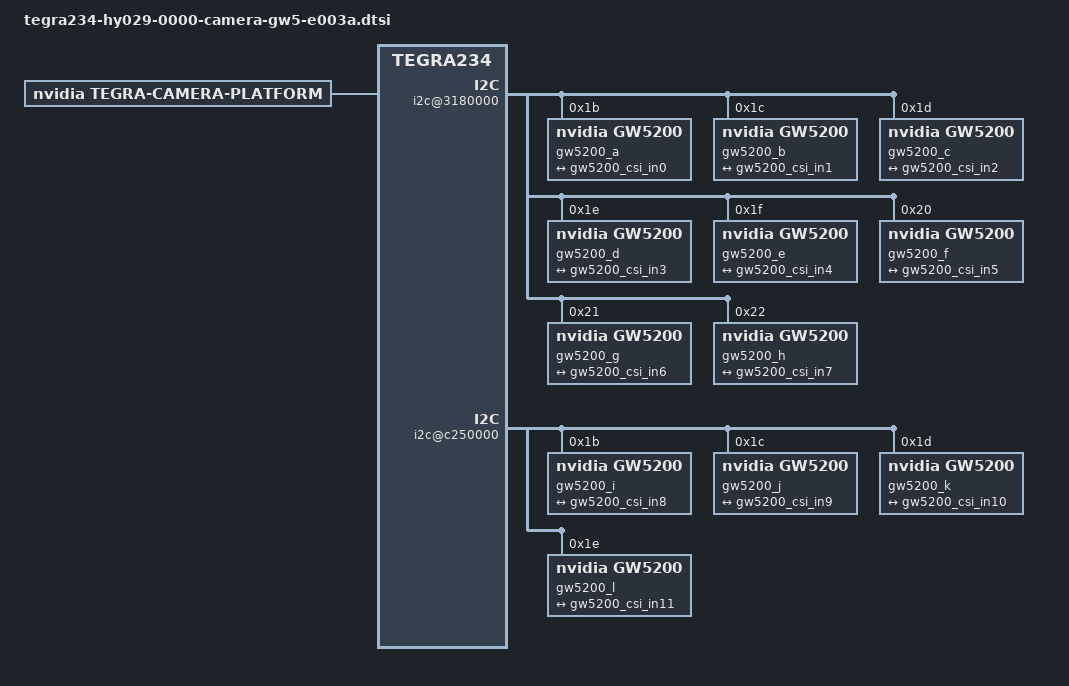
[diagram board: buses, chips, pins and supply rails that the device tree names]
/*
 * Copyright (c) 2018, NVIDIA CORPORATION.  All rights reserved.
 *
 * This program is free software; you can redistribute it and/or modify
 * it under the terms of the GNU General Public License as published by
 * the Free Software Foundation; either version 2 of the License, or
 * (at your option) any later version.
 *
 * This program is distributed in the hope that it will be useful, but WITHOUT
 * ANY WARRANTY; without even the implied warranty of MERCHANTABILITY or
 * FITNESS FOR A PARTICULAR PURPOSE.  See the GNU General Public License for
 * more details.
 *
 * You should have received a copy of the GNU General Public License
 * along with this program.  If not, see <http://www.gnu.org/licenses/>.
 */



/ {
		tegra-capture-vi {
			num-channels = <12>;
			/*num-channels = <8>;*/
			/*num-channels = <4>;*/
			ports {
				#address-cells = <1>;
				#size-cells = <0>;
            #if 1
				port@0 {
					reg = <0>;
					gw5200_vi_in0: endpoint {
						devnode = "video1";
						vc-id = <0>;
						/*
						 * Port index is used to specify the connection between two different modules. 
						 * For the VI (video input) module, the port index represents the input stream. 
						 * For the CSI module, it represents the actual CSI port to which the camera is connected.
						 * see diagram for details.
						*/
						port-index = <0>;
						/* Number of CSI lanes connected to sensor; determines the bus width. */
						bus-width = <4>;
						remote-endpoint = <&gw5200_csi_out0>;
					};
				};
				port@1 {
					reg = <1>;
					gw5200_vi_in1: endpoint {
						devnode = "video0";
						vc-id = <1>;
						port-index = <0>;
						bus-width = <4>;
						remote-endpoint = <&gw5200_csi_out1>;
					};
				};
				port@2 {
					reg = <2>;
					gw5200_vi_in2: endpoint {
						devnode = "video3";
						vc-id = <2>;
						port-index = <0>;
						bus-width = <4>;
						remote-endpoint = <&gw5200_csi_out2>;
					};
				};
				port@3 {
					reg = <3>;
					gw5200_vi_in3: endpoint {
						devnode = "video2";
						vc-id = <3>;
						port-index = <0>;
						bus-width = <4>;
						remote-endpoint = <&gw5200_csi_out3>;
					};
				};
            #endif
            #if 1
				port@4 {
					reg = <4>;
					gw5200_vi_in4: endpoint {
						devnode = "video9";
						vc-id = <0>;
						port-index = <2>;
						bus-width = <4>;
						remote-endpoint = <&gw5200_csi_out4>;
					};
				};
				port@5 {
					reg = <5>;
					gw5200_vi_in5: endpoint {
						devnode = "video8";
						vc-id = <1>;
						port-index = <2>;
						bus-width = <4>;
						remote-endpoint = <&gw5200_csi_out5>;
					};
				};	
				port@6 {
					reg = <6>;
					gw5200_vi_in6: endpoint {
						devnode = "video11";
						vc-id = <2>;
						port-index = <2>;
						bus-width = <4>;
						remote-endpoint = <&gw5200_csi_out6>;
					};
				};
				port@7 {
					reg = <7>;
					gw5200_vi_in7: endpoint {
						devnode = "video10";
						vc-id = <3>;
						port-index = <2>;
						bus-width = <4>;
						remote-endpoint = <&gw5200_csi_out7>;
					};
				};
            #endif

            #if 1
				port@8 {
					reg = <8>;
					gw5200_vi_in8: endpoint {
						devnode = "video5";
						vc-id = <0>;
						port-index = <4>;
						bus-width = <4>;
						remote-endpoint = <&gw5200_csi_out8>;
					};
				};
				port@9 {
					reg = <9>;
					gw5200_vi_in9: endpoint {
						devnode = "video4";
						vc-id = <1>;
						port-index = <4>;
						bus-width = <4>;
						remote-endpoint = <&gw5200_csi_out9>;
					};
				};	
				port@a {
					reg = <0xa>;
					gw5200_vi_in10: endpoint {
						devnode = "video7";
						vc-id = <2>;
						port-index = <4>;
						bus-width = <4>;
						remote-endpoint = <&gw5200_csi_out10>;
					};
				};
				port@b {
					reg = <0xb>;
					gw5200_vi_in11: endpoint {
						devnode = "video6";
						vc-id = <3>;
						port-index = <4>;
						bus-width = <4>;
						remote-endpoint = <&gw5200_csi_out11>;
					};
				};
            #endif
			};
		};

	host1x@13e00000 {
		nvcsi@15a00000 {
			num-channels = <12>;
			/*num-channels = <8>;*/
			/*num-channels = <4>;*/
			#address-cells = <1>;
			#size-cells = <0>;
        #if 1
			channel@0 {
				reg = <0>;
				ports {
					#address-cells = <1>;
					#size-cells = <0>;
					port@0 {
						reg = <0>;
						gw5200_csi_in0: endpoint@0 {
						/*
						 * Port index is used to specify the connection between two different modules. 
						 * For the VI (video input) module, the port index represents the input stream. 
						 * For the CSI module, it represents the actual CSI port to which the camera is connected.
						 * see diagram for details.
						*/
							port-index = <0>;
							bus-width = <4>;
							remote-endpoint = <&gw5200_gw5200_out0>;
						};
					};

					port@1 {
						reg = <1>;
						gw5200_csi_out0: endpoint@1 {
							remote-endpoint = <&gw5200_vi_in0>;
						};
					};

				};
			};
			channel@1 {
				reg = <1>;
				ports {
					#address-cells = <1>;
					#size-cells = <0>;
					port@0 {
						reg = <0>;
						gw5200_csi_in1: endpoint@2 {
							port-index = <0>;
							bus-width = <4>;
							remote-endpoint = <&gw5200_gw5200_out1>;
						};
					};
					port@1 {
						reg = <1>;
						gw5200_csi_out1: endpoint@3 {
							remote-endpoint = <&gw5200_vi_in1>;
						};
					};
				};
			};
			channel@2 {
				reg = <2>;
				ports {
					#address-cells = <1>;
					#size-cells = <0>;
					port@0 {
						reg = <0>;
						gw5200_csi_in2: endpoint@4 {
							port-index = <0>;
							bus-width = <4>;
							remote-endpoint = <&gw5200_gw5200_out2>;
						};
					};
					port@1 {
						reg = <1>;
						gw5200_csi_out2: endpoint@5 {
							remote-endpoint = <&gw5200_vi_in2>;
						};
					};
				};
			};
			channel@3 {
				reg = <3>;
				ports {
					#address-cells = <1>;
					#size-cells = <0>;
					port@0 {
						reg = <0>;
						gw5200_csi_in3: endpoint@6 {
							port-index = <0>;
							bus-width = <4>;
							remote-endpoint = <&gw5200_gw5200_out3>;
						};
					};
					port@1 {
						reg = <1>;
						gw5200_csi_out3: endpoint@7 {
							remote-endpoint = <&gw5200_vi_in3>;
						};
					};
				};
			};
        #endif
        #if 1
			channel@4 {
				reg = <4>;
				ports {
					#address-cells = <1>;
					#size-cells = <0>;
					port@0 {
						reg = <0>;
						gw5200_csi_in4: endpoint@8 {
							/*port-index = <6>;*/
							port-index = <2>;
							bus-width = <4>;
							remote-endpoint = <&gw5200_gw5200_out4>;
						};
					};

					port@1 {
						reg = <1>;
						gw5200_csi_out4: endpoint@9 {
							remote-endpoint = <&gw5200_vi_in4>;
						};
					};

				};
			};
			channel@5 {
				reg = <5>;
				ports {
					#address-cells = <1>;
					#size-cells = <0>;
					port@0 {
						reg = <0>;
						gw5200_csi_in5: endpoint@10 {
							port-index = <2>;
							bus-width = <4>;
							remote-endpoint = <&gw5200_gw5200_out5>;
						};
					};
					port@1 {
						reg = <1>;
						gw5200_csi_out5: endpoint@11 {
							remote-endpoint = <&gw5200_vi_in5>;
						};
					};
				};
			};
			channel@6 {
				reg = <6>;
				ports {
					#address-cells = <1>;
					#size-cells = <0>;
					port@0 {
						reg = <0>;
						gw5200_csi_in6: endpoint@12 {
							port-index = <2>;
							bus-width = <4>;
							remote-endpoint = <&gw5200_gw5200_out6>;
						};
					};
					port@1 {
						reg = <1>;
						gw5200_csi_out6: endpoint@13 {
							remote-endpoint = <&gw5200_vi_in6>;
						};
					};
				};
			};
			channel@7 {
				reg = <7>;
				ports {
					#address-cells = <1>;
					#size-cells = <0>;
					port@0 {
						reg = <0>;
						gw5200_csi_in7: endpoint@14 {
							port-index = <2>;
							bus-width = <4>;
							remote-endpoint = <&gw5200_gw5200_out7>;
						};
					};
					port@1 {
						reg = <1>;
						gw5200_csi_out7: endpoint@15 {
							remote-endpoint = <&gw5200_vi_in7>;
						};
					};
				};
			};
        #endif
        #if 1
			channel@8 {
				reg = <8>;
				ports {
					#address-cells = <1>;
					#size-cells = <0>;
					port@0 {
						reg = <0>;
						gw5200_csi_in8: endpoint@16 {
							port-index = <4>;
							bus-width = <4>;
							remote-endpoint = <&gw5200_gw5200_out8>;
						};
					};

					port@1 {
						reg = <1>;
						gw5200_csi_out8: endpoint@17 {
							remote-endpoint = <&gw5200_vi_in8>;
						};
					};

				};
			};
			channel@9 {
				reg = <9>;
				ports {
					#address-cells = <1>;
					#size-cells = <0>;
					port@0 {
						reg = <0>;
						gw5200_csi_in9: endpoint@18 {
							port-index = <4>;
							bus-width = <4>;
							remote-endpoint = <&gw5200_gw5200_out9>;
						};
					};
					port@1 {
						reg = <1>;
						gw5200_csi_out9: endpoint@19 {
							remote-endpoint = <&gw5200_vi_in9>;
						};
					};
				};
			};
			channel@a {
				reg = <0xa>;
				ports {
					#address-cells = <1>;
					#size-cells = <0>;
					port@0 {
						reg = <0>;
						gw5200_csi_in10: endpoint@20 {
							port-index = <4>;
							bus-width = <4>;
							remote-endpoint = <&gw5200_gw5200_out10>;
						};
					};
					port@1 {
						reg = <1>;
						gw5200_csi_out10: endpoint@21 {
							remote-endpoint = <&gw5200_vi_in10>;
						};
					};
				};
			};
			channel@b {
				reg = <0xb>;
				ports {
					#address-cells = <1>;
					#size-cells = <0>;
					port@0 {
						reg = <0>;
						gw5200_csi_in11: endpoint@22 {
							port-index = <4>;
							bus-width = <4>;
							remote-endpoint = <&gw5200_gw5200_out11>;
						};
					};
					port@1 {
						reg = <1>;
						gw5200_csi_out11: endpoint@23 {
							remote-endpoint = <&gw5200_vi_in11>;
						};
					};
				};
			};
        #endif
		};

	};

	i2c@3180000 {

			gw5200_a@1b {
				compatible = "nvidia,gw5200";
				reg = <0x1b>;
				physical_w = "15.0";
				physical_h = "12.5";
				//def-mode = <0>;
				sensor_model ="e003a";
				post_crop_frame_drop = "0";
				use_decibel_gain = "true";
				delayed_gain = "true";
				//use_sensor_mode_id = "true";
				mode0 {
					mclk_khz = "24000";
					num_lanes = "4";
					/* enable dphy */
					phy_mode = "DPHY";
					tegra_sinterface = "serial_a";
					vc_id = "0";
					discontinuous_clk = "no";
					dpcm_enable = "false";
					cil_settletime = "0";
					mode_type = "yuv";
					pixel_phase = "yuyv";
					csi_pixel_bit_depth = "16";
					active_w = "1920";
					active_h = "1080";
					//pixel_t = "yuv_yuyv16";
					readout_orientation = "0";
					line_length = "4400";
					inherent_gain = "1";
					pix_clk_hz = "148500000";
					serdes_pix_clk_hz = "300000000";
					gain_factor = "10";
					min_gain_val = "0"; /* dB */
					max_gain_val = "300"; /* dB */
					step_gain_val = "3"; /* 0.3 */
					default_gain = "0";
					min_hdr_ratio = "1";
					max_hdr_ratio = "1";
					framerate_factor = "1000000";
					min_framerate = "30000000";
					max_framerate = "30000000";
					step_framerate = "1";
					default_framerate = "30000000";
					exposure_factor = "1000000";
					min_exp_time = "59"; /*us, 2 lines*/
					max_exp_time = "33333";
					step_exp_time = "1";
					default_exp_time = "33333";/* us */
					embedded_metadata_height = "0";
				};
				ports {
					#address-cells = <1>;
					#size-cells = <0>;
					port@0 {
						reg = <0>;
						gw5200_gw5200_out0: endpoint {
							vc-id = <0>;
							port-index = <0>;
							bus-width = <4>;
							remote-endpoint = <&gw5200_csi_in0>;
							};
						};
					};
				gmsl-link {
					src-csi-port = "b";
					dst-csi-port = "b";
					serdes-csi-link = "a";
					csi-mode = "1x4";
					st-vc = <0>;
					vc-id = <0>;
					num-lanes = <4>;
					streams = "yuv422-8";
					};
				};
			gw5200_b@1c {
				compatible = "nvidia,gw5200";
				reg = <0x1c>;
				physical_w = "15.0";
				physical_h = "12.5";
				//def-mode = <0>;
				sensor_model ="e003a";
				post_crop_frame_drop = "0";
				use_decibel_gain = "true";
				delayed_gain = "true";
				//use_sensor_mode_id = "true";
				mode0 {
					mclk_khz = "24000";
					num_lanes = "4";
					phy_mode = "DPHY";
					tegra_sinterface = "serial_a";
					vc_id = "1";
					discontinuous_clk = "no";
					dpcm_enable = "false";
					cil_settletime = "0";
					mode_type = "yuv";
					pixel_phase = "yuyv";
					csi_pixel_bit_depth = "16";
					active_w = "1920";
					active_h = "1080";
					//pixel_t = "yuv_yuyv16";
					readout_orientation = "0";
					line_length = "4400";
					inherent_gain = "1";
					pix_clk_hz = "148500000";
					serdes_pix_clk_hz = "300000000";
					gain_factor = "10";
					min_gain_val = "0"; /* dB */
					max_gain_val = "300"; /* dB */
					step_gain_val = "3"; /* 0.3 */
					default_gain = "0";
					min_hdr_ratio = "1";
					max_hdr_ratio = "1";
					framerate_factor = "1000000";
					min_framerate = "30000000";
					max_framerate = "30000000";
					step_framerate = "1";
					default_framerate = "30000000";
					exposure_factor = "1000000";
					min_exp_time = "59"; /*us, 2 lines*/
					max_exp_time = "33333";
					step_exp_time = "1";
					default_exp_time = "33333";/* us */
					embedded_metadata_height = "0";
				};
				ports {
					#address-cells = <1>;
					#size-cells = <0>;
					port@0 {
						reg = <0>;
						gw5200_gw5200_out1: endpoint {
							vc-id = <1>;
							port-index = <0>;
							bus-width = <4>;
							remote-endpoint = <&gw5200_csi_in1>;
							};
						};
					};
				gmsl-link {
					src-csi-port = "b";
					dst-csi-port = "b";
					serdes-csi-link = "b";
					csi-mode = "1x4";
					st-vc = <0>;
					vc-id = <1>;
					num-lanes = <4>;
					streams = "yuv422-8";
					};
				};

			gw5200_c@1d {
				compatible = "nvidia,gw5200";
				reg = <0x1d>;
				physical_w = "15.0";
				physical_h = "12.5";
				//def-mode = <0>;
				sensor_model ="e003a";
				post_crop_frame_drop = "0";
				use_decibel_gain = "true";
				delayed_gain = "true";
				//use_sensor_mode_id = "true";
				mode0 {
					mclk_khz = "24000";
					num_lanes = "4";
					phy_mode = "DPHY";
					tegra_sinterface = "serial_a";
					vc_id = "2";
					discontinuous_clk = "no";
					dpcm_enable = "false";
					cil_settletime = "0";
					mode_type = "yuv";
					pixel_phase = "yuyv";
					csi_pixel_bit_depth = "16";
					active_w = "1920";
					active_h = "1080";
					//pixel_t = "yuv_yuyv16";
					readout_orientation = "0";
					line_length = "4400";
					inherent_gain = "1";
					pix_clk_hz = "148500000";
					serdes_pix_clk_hz = "300000000";
					gain_factor = "10";
					min_gain_val = "0"; /* dB */
					max_gain_val = "300"; /* dB */
					step_gain_val = "3"; /* 0.3 */
					default_gain = "0";
					min_hdr_ratio = "1";
					max_hdr_ratio = "1";
					framerate_factor = "1000000";
					min_framerate = "30000000";
					max_framerate = "30000000";
					step_framerate = "1";
					default_framerate = "30000000";
					exposure_factor = "1000000";
					min_exp_time = "59"; /*us, 2 lines*/
					max_exp_time = "33333";
					step_exp_time = "1";
					default_exp_time = "33333";/* us */
					embedded_metadata_height = "0";
				};
				ports {
					#address-cells = <1>;
					#size-cells = <0>;
					port@0 {
						reg = <0>;
						gw5200_gw5200_out2: endpoint {
							vc-id = <2>;
							port-index = <0>;
							bus-width = <4>;
							remote-endpoint = <&gw5200_csi_in2>;
							};
						};
					};
				gmsl-link {
					src-csi-port = "b";
					dst-csi-port = "b";
					serdes-csi-link = "c";
					csi-mode = "1x4";
					st-vc = <0>;
					vc-id = <2>;
					num-lanes = <4>;
					streams = "yuv422-8";
					};
				};

			gw5200_d@1e{
				compatible = "nvidia,gw5200";
				reg = <0x1e>;
				physical_w = "15.0";
				physical_h = "12.5";
				//def-mode = <0>;
				sensor_model ="e003a";
				post_crop_frame_drop = "0";
				use_decibel_gain = "true";
				delayed_gain = "true";
				//use_sensor_mode_id = "true";
				mode0 {
					mclk_khz = "24000";
					num_lanes = "4";
					phy_mode = "DPHY";
					tegra_sinterface = "serial_a";
					vc_id = "3";
					discontinuous_clk = "no";
					dpcm_enable = "false";
					cil_settletime = "0";
					mode_type = "yuv";
					pixel_phase = "yuyv";
					csi_pixel_bit_depth = "16";
					active_w = "1920";
					active_h = "1080";
					//pixel_t = "yuv_yuyv16";
					readout_orientation = "0";
					line_length = "4400";
					inherent_gain = "1";
					pix_clk_hz = "148500000";
					serdes_pix_clk_hz = "300000000";
					gain_factor = "10";
					min_gain_val = "0"; /* dB */
					max_gain_val = "300"; /* dB */
					step_gain_val = "3"; /* 0.3 */
					default_gain = "0";
					min_hdr_ratio = "1";
					max_hdr_ratio = "1";
					framerate_factor = "1000000";
					min_framerate = "30000000";
					max_framerate = "30000000";
					step_framerate = "1";
					default_framerate = "30000000";
					exposure_factor = "1000000";
					min_exp_time = "59"; /*us, 2 lines*/
					max_exp_time = "33333";
					step_exp_time = "1";
					default_exp_time = "33333";/* us */
					embedded_metadata_height = "0";
				};
				ports {
					#address-cells = <1>;
					#size-cells = <0>;
					port@0 {
						reg = <0>;
						gw5200_gw5200_out3: endpoint {
							vc-id = <3>;
							port-index = <0>;
							bus-width = <4>;
							remote-endpoint = <&gw5200_csi_in3>;
							};
						};
					};
				gmsl-link {
					src-csi-port = "b";
					dst-csi-port = "b";
					serdes-csi-link = "d";
					csi-mode = "1x4";
					st-vc = <0>;
					vc-id = <3>;
					num-lanes = <4>;
					streams = "yuv422-8";
					};
				};
	};
    #if 1
	i2c@3180000 {
			gw5200_e@1f {
				compatible = "nvidia,gw5200";
				reg = <0x1f>;
				physical_w = "15.0";
				physical_h = "12.5";
				//def-mode = <0>;
				sensor_model ="e003a";
				post_crop_frame_drop = "0";
				use_decibel_gain = "true";
				delayed_gain = "true";
				//use_sensor_mode_id = "true";
				mode0 {
					mclk_khz = "24000";
					num_lanes = "4";
					phy_mode = "DPHY";
					/*tegra_sinterface = "serial_g";*/
					tegra_sinterface = "serial_c";
					vc_id = "0";
					discontinuous_clk = "no";
					dpcm_enable = "false";
					cil_settletime = "0";
					mode_type = "yuv";
					pixel_phase = "yuyv";
					csi_pixel_bit_depth = "16";
					active_w = "1920";
					active_h = "1080";
					//pixel_t = "yuv_yuyv16";
					readout_orientation = "0";
					line_length = "4400";
					inherent_gain = "1";
					pix_clk_hz = "148500000";
					serdes_pix_clk_hz = "300000000";
					gain_factor = "10";
					min_gain_val = "0"; /* dB */
					max_gain_val = "300"; /* dB */
					step_gain_val = "3"; /* 0.3 */
					default_gain = "0";
					min_hdr_ratio = "1";
					max_hdr_ratio = "1";
					framerate_factor = "1000000";
					min_framerate = "30000000";
					max_framerate = "30000000";
					step_framerate = "1";
					default_framerate = "30000000";
					exposure_factor = "1000000";
					min_exp_time = "59"; /*us, 2 lines*/
					max_exp_time = "33333";
					step_exp_time = "1";
					default_exp_time = "33333";/* us */
					embedded_metadata_height = "0";
				};
				ports {
					#address-cells = <1>;
					#size-cells = <0>;
					port@0 {
						reg = <0>;
						gw5200_gw5200_out4: endpoint {
							vc-id = <0>;
							port-index = <2>;
							bus-width = <4>;
							remote-endpoint = <&gw5200_csi_in4>;
							};
						};
					};
				gmsl-link {
					src-csi-port = "b";
					dst-csi-port = "b";
					serdes-csi-link = "a";
					csi-mode = "1x4";
					st-vc = <0>;
					vc-id = <0>;
					num-lanes = <4>;
					streams = "yuv422-8";
					};
				};
			gw5200_f@20 {
				compatible = "nvidia,gw5200";
				reg = <0x20>;
				physical_w = "15.0";
				physical_h = "12.5";
				//def-mode = <0>;
				sensor_model ="e003a";
				post_crop_frame_drop = "0";
				use_decibel_gain = "true";
				delayed_gain = "true";
				//use_sensor_mode_id = "true";
				mode0 {
					mclk_khz = "24000";
					num_lanes = "4";
					phy_mode = "DPHY";
					tegra_sinterface = "serial_c";
					vc_id = "1";
					discontinuous_clk = "no";
					dpcm_enable = "false";
					cil_settletime = "0";
					mode_type = "yuv";
					pixel_phase = "yuyv";
					csi_pixel_bit_depth = "16";
					active_w = "1920";
					active_h = "1080";
					//pixel_t = "yuv_yuyv16";
					readout_orientation = "0";
					line_length = "4400";
					inherent_gain = "1";
					pix_clk_hz = "148500000";
					serdes_pix_clk_hz = "300000000";
					gain_factor = "10";
					min_gain_val = "0"; /* dB */
					max_gain_val = "300"; /* dB */
					step_gain_val = "3"; /* 0.3 */
					default_gain = "0";
					min_hdr_ratio = "1";
					max_hdr_ratio = "1";
					framerate_factor = "1000000";
					min_framerate = "30000000";
					max_framerate = "30000000";
					step_framerate = "1";
					default_framerate = "30000000";
					exposure_factor = "1000000";
					min_exp_time = "59"; /*us, 2 lines*/
					max_exp_time = "33333";
					step_exp_time = "1";
					default_exp_time = "33333";/* us */
					embedded_metadata_height = "0";
				};
				ports {
					#address-cells = <1>;
					#size-cells = <0>;
					port@0 {
						reg = <0>;
						gw5200_gw5200_out5: endpoint {
							vc-id = <1>;
							port-index = <2>;
							bus-width = <4>;
							remote-endpoint = <&gw5200_csi_in5>;
							};
						};
					};
				gmsl-link {
					src-csi-port = "b";
					dst-csi-port = "b";
					serdes-csi-link = "b";
					csi-mode = "1x4";
					st-vc = <0>;
					vc-id = <1>;
					num-lanes = <4>;
					streams = "yuv422-8";
					};
				};

			gw5200_g@21 {
				compatible = "nvidia,gw5200";
				reg = <0x21>;
				physical_w = "15.0";
				physical_h = "12.5";
				//def-mode = <0>;
				sensor_model ="e003a";
				post_crop_frame_drop = "0";
				use_decibel_gain = "true";
				delayed_gain = "true";
				//use_sensor_mode_id = "true";
				mode0 {
					mclk_khz = "24000";
					num_lanes = "4";
					phy_mode = "DPHY";
					tegra_sinterface = "serial_c";
					vc_id = "2";
					discontinuous_clk = "no";
					dpcm_enable = "false";
					cil_settletime = "0";
					mode_type = "yuv";
					pixel_phase = "yuyv";
					csi_pixel_bit_depth = "16";
					active_w = "1920";
					active_h = "1080";
					//pixel_t = "yuv_yuyv16";
					readout_orientation = "0";
					line_length = "4400";
					inherent_gain = "1";
					pix_clk_hz = "148500000";
					serdes_pix_clk_hz = "300000000";
					gain_factor = "10";
					min_gain_val = "0"; /* dB */
					max_gain_val = "300"; /* dB */
					step_gain_val = "3"; /* 0.3 */
					default_gain = "0";
					min_hdr_ratio = "1";
					max_hdr_ratio = "1";
					framerate_factor = "1000000";
					min_framerate = "30000000";
					max_framerate = "30000000";
					step_framerate = "1";
					default_framerate = "30000000";
					exposure_factor = "1000000";
					min_exp_time = "59"; /*us, 2 lines*/
					max_exp_time = "33333";
					step_exp_time = "1";
					default_exp_time = "33333";/* us */
					embedded_metadata_height = "0";
				};
				ports {
					#address-cells = <1>;
					#size-cells = <0>;
					port@0 {
						reg = <0>;
						gw5200_gw5200_out6: endpoint {
							vc-id = <2>;
							port-index = <2>;
							bus-width = <4>;
							remote-endpoint = <&gw5200_csi_in6>;
							};
						};
					};
				gmsl-link {
					src-csi-port = "b";
					dst-csi-port = "b";
					serdes-csi-link = "c";
					csi-mode = "1x4";
					st-vc = <0>;
					vc-id = <2>;
					num-lanes = <4>;
					streams = "yuv422-8";
					};
				};

			gw5200_h@22{
				compatible = "nvidia,gw5200";
				reg = <0x22>;
				physical_w = "15.0";
				physical_h = "12.5";
				//def-mode = <0>;
				sensor_model ="e003a";
				post_crop_frame_drop = "0";
				use_decibel_gain = "true";
				delayed_gain = "true";
				//use_sensor_mode_id = "true";
				mode0 {
					mclk_khz = "24000";
					num_lanes = "4";
					phy_mode = "DPHY";
					tegra_sinterface = "serial_c";
					vc_id = "3";
					discontinuous_clk = "no";
					dpcm_enable = "false";
					cil_settletime = "0";
					mode_type = "yuv";
					pixel_phase = "yuyv";
					csi_pixel_bit_depth = "16";
					active_w = "1920";
					active_h = "1080";
					//pixel_t = "yuv_yuyv16";
					readout_orientation = "0";
					line_length = "4400";
					inherent_gain = "1";
					pix_clk_hz = "148500000";
					serdes_pix_clk_hz = "300000000";
					gain_factor = "10";
					min_gain_val = "0"; /* dB */
					max_gain_val = "300"; /* dB */
					step_gain_val = "3"; /* 0.3 */
					default_gain = "0";
					min_hdr_ratio = "1";
					max_hdr_ratio = "1";
					framerate_factor = "1000000";
					min_framerate = "30000000";
					max_framerate = "30000000";
					step_framerate = "1";
					default_framerate = "30000000";
					exposure_factor = "1000000";
					min_exp_time = "59"; /*us, 2 lines*/
					max_exp_time = "33333";
					step_exp_time = "1";
					default_exp_time = "33333";/* us */
					embedded_metadata_height = "0";
				};
				ports {
					#address-cells = <1>;
					#size-cells = <0>;
					port@0 {
						reg = <0>;
						gw5200_gw5200_out7: endpoint {
							vc-id = <3>;
							port-index = <2>;
							bus-width = <4>;
							remote-endpoint = <&gw5200_csi_in7>;
							};
						};
					};
				gmsl-link {
					src-csi-port = "b";
					dst-csi-port = "b";
					serdes-csi-link = "d";
					csi-mode = "1x4";
					st-vc = <0>;
					vc-id = <3>;
					num-lanes = <4>;
					streams = "yuv422-8";
					};
				};

	};
    #endif

    #if 1
	i2c@c250000 {
			gw5200_i@1b {
				compatible = "nvidia,gw5200";
				reg = <0x1b>;
				physical_w = "15.0";
				physical_h = "12.5";
				//def-mode = <0>;
				sensor_model ="e003a";
				post_crop_frame_drop = "0";
				use_decibel_gain = "true";
				delayed_gain = "true";
				//use_sensor_mode_id = "true";
				mode0 {
					mclk_khz = "24000";
					num_lanes = "4";
					phy_mode = "DPHY";
					tegra_sinterface = "serial_e";
					vc_id = "0";
					discontinuous_clk = "no";
					dpcm_enable = "false";
					cil_settletime = "0";
					mode_type = "yuv";
					pixel_phase = "yuyv";
					csi_pixel_bit_depth = "16";
					active_w = "1920";
					active_h = "1080";
					//pixel_t = "yuv_yuyv16";
					readout_orientation = "0";
					line_length = "4400";
					inherent_gain = "1";
					pix_clk_hz = "148500000";
					serdes_pix_clk_hz = "300000000";
					gain_factor = "10";
					min_gain_val = "0"; /* dB */
					max_gain_val = "300"; /* dB */
					step_gain_val = "3"; /* 0.3 */
					default_gain = "0";
					min_hdr_ratio = "1";
					max_hdr_ratio = "1";
					framerate_factor = "1000000";
					min_framerate = "30000000";
					max_framerate = "30000000";
					step_framerate = "1";
					default_framerate = "30000000";
					exposure_factor = "1000000";
					min_exp_time = "59"; /*us, 2 lines*/
					max_exp_time = "33333";
					step_exp_time = "1";
					default_exp_time = "33333";/* us */
					embedded_metadata_height = "0";
				};
				ports {
					#address-cells = <1>;
					#size-cells = <0>;
					port@0 {
						reg = <0>;
						gw5200_gw5200_out8: endpoint {
							vc-id = <0>;
							port-index = <4>;
							bus-width = <4>;
							remote-endpoint = <&gw5200_csi_in8>;
							};
						};
					};
				gmsl-link {
					src-csi-port = "b";
					dst-csi-port = "b";
					serdes-csi-link = "a";
					csi-mode = "1x4";
					st-vc = <0>;
					vc-id = <0>;
					num-lanes = <4>;
					streams = "yuv422-8";
					};
				};
			gw5200_j@1c {
				compatible = "nvidia,gw5200";
				reg = <0x1c>;
				physical_w = "15.0";
				physical_h = "12.5";
				//def-mode = <0>;
				sensor_model ="e003a";
				post_crop_frame_drop = "0";
				use_decibel_gain = "true";
				delayed_gain = "true";
				//use_sensor_mode_id = "true";
				mode0 {
					mclk_khz = "24000";
					num_lanes = "4";
					phy_mode = "DPHY";
					tegra_sinterface = "serial_e";
					vc_id = "1";
					discontinuous_clk = "no";
					dpcm_enable = "false";
					cil_settletime = "0";
					mode_type = "yuv";
					pixel_phase = "yuyv";
					csi_pixel_bit_depth = "16";
					active_w = "1920";
					active_h = "1080";
					//pixel_t = "yuv_yuyv16";
					readout_orientation = "0";
					line_length = "4400";
					inherent_gain = "1";
					pix_clk_hz = "148500000";
					serdes_pix_clk_hz = "300000000";
					gain_factor = "10";
					min_gain_val = "0"; /* dB */
					max_gain_val = "300"; /* dB */
					step_gain_val = "3"; /* 0.3 */
					default_gain = "0";
					min_hdr_ratio = "1";
					max_hdr_ratio = "1";
					framerate_factor = "1000000";
					min_framerate = "30000000";
					max_framerate = "30000000";
					step_framerate = "1";
					default_framerate = "30000000";
					exposure_factor = "1000000";
					min_exp_time = "59"; /*us, 2 lines*/
					max_exp_time = "33333";
					step_exp_time = "1";
					default_exp_time = "33333";/* us */
					embedded_metadata_height = "0";
				};
				ports {
					#address-cells = <1>;
					#size-cells = <0>;
					port@0 {
						reg = <0>;
						gw5200_gw5200_out9: endpoint {
							vc-id = <1>;
							port-index = <4>;
							bus-width = <4>;
							remote-endpoint = <&gw5200_csi_in9>;
							};
						};
					};
				gmsl-link {
					src-csi-port = "b";
					dst-csi-port = "b";
					serdes-csi-link = "b";
					csi-mode = "1x4";
					st-vc = <0>;
					vc-id = <1>;
					num-lanes = <4>;
					streams = "yuv422-8";
					};
				};

			gw5200_k@1d {
				compatible = "nvidia,gw5200";
				reg = <0x1d>;
				physical_w = "15.0";
				physical_h = "12.5";
				//def-mode = <0>;
				sensor_model ="e003a";
				post_crop_frame_drop = "0";
				use_decibel_gain = "true";
				delayed_gain = "true";
				//use_sensor_mode_id = "true";
				mode0 {
					mclk_khz = "24000";
					num_lanes = "4";
					phy_mode = "DPHY";
					tegra_sinterface = "serial_e";
					vc_id = "2";
					discontinuous_clk = "no";
					dpcm_enable = "false";
					cil_settletime = "0";
					mode_type = "yuv";
					pixel_phase = "yuyv";
					csi_pixel_bit_depth = "16";
					active_w = "1920";
					active_h = "1080";
					//pixel_t = "yuv_yuyv16";
					readout_orientation = "0";
					line_length = "4400";
					inherent_gain = "1";
					pix_clk_hz = "148500000";
					serdes_pix_clk_hz = "300000000";
					gain_factor = "10";
					min_gain_val = "0"; /* dB */
					max_gain_val = "300"; /* dB */
					step_gain_val = "3"; /* 0.3 */
					default_gain = "0";
					min_hdr_ratio = "1";
					max_hdr_ratio = "1";
					framerate_factor = "1000000";
					min_framerate = "30000000";
					max_framerate = "30000000";
					step_framerate = "1";
					default_framerate = "30000000";
					exposure_factor = "1000000";
					min_exp_time = "59"; /*us, 2 lines*/
					max_exp_time = "33333";
					step_exp_time = "1";
					default_exp_time = "33333";/* us */
					embedded_metadata_height = "0";
				};
				ports {
					#address-cells = <1>;
					#size-cells = <0>;
					port@0 {
						reg = <0>;
						gw5200_gw5200_out10: endpoint {
							vc-id = <2>;
							port-index = <4>;
							bus-width = <4>;
							remote-endpoint = <&gw5200_csi_in10>;
							};
						};
					};
				gmsl-link {
					src-csi-port = "b";
					dst-csi-port = "b";
					serdes-csi-link = "c";
					csi-mode = "1x4";
					st-vc = <0>;
					vc-id = <2>;
					num-lanes = <4>;
					streams = "yuv422-8";
					};
				};

			gw5200_l@1e{
				compatible = "nvidia,gw5200";
				reg = <0x1e>;
				physical_w = "15.0";
				physical_h = "12.5";
				//def-mode = <0>;
				sensor_model ="e003a";
				post_crop_frame_drop = "0";
				use_decibel_gain = "true";
				delayed_gain = "true";
				//use_sensor_mode_id = "true";
				mode0 {
					mclk_khz = "24000";
					num_lanes = "4";
					phy_mode = "DPHY";
					tegra_sinterface = "serial_e";
					vc_id = "3";
					discontinuous_clk = "no";
					dpcm_enable = "false";
					cil_settletime = "0";
					mode_type = "yuv";
					pixel_phase = "yuyv";
					csi_pixel_bit_depth = "16";
					active_w = "1920";
					active_h = "1080";
					//pixel_t = "yuv_yuyv16";
					readout_orientation = "0";
					line_length = "4400";
					inherent_gain = "1";
					pix_clk_hz = "148500000";
					serdes_pix_clk_hz = "300000000";
					gain_factor = "10";
					min_gain_val = "0"; /* dB */
					max_gain_val = "300"; /* dB */
					step_gain_val = "3"; /* 0.3 */
					default_gain = "0";
					min_hdr_ratio = "1";
					max_hdr_ratio = "1";
					framerate_factor = "1000000";
					min_framerate = "30000000";
					max_framerate = "30000000";
					step_framerate = "1";
					default_framerate = "30000000";
					exposure_factor = "1000000";
					min_exp_time = "59"; /*us, 2 lines*/
					max_exp_time = "33333";
					step_exp_time = "1";
					default_exp_time = "33333";/* us */
					embedded_metadata_height = "0";
				};
				ports {
					#address-cells = <1>;
					#size-cells = <0>;
					port@0 {
						reg = <0>;
						gw5200_gw5200_out11: endpoint {
							vc-id = <3>;
							port-index = <4>;
							bus-width = <4>;
							remote-endpoint = <&gw5200_csi_in11>;
							};
						};
					};
				gmsl-link {
					src-csi-port = "b";
					dst-csi-port = "b";
					serdes-csi-link = "d";
					csi-mode = "1x4";
					st-vc = <0>;
					vc-id = <3>;
					num-lanes = <4>;
					streams = "yuv422-8";
					};
				};

	};
    #endif

};

/ {

	tegra-camera-platform {
		compatible = "nvidia, tegra-camera-platform";
		/**
		* Physical settings to calculate max ISO BW
		*
		* num_csi_lanes = <>;
		* Total number of CSI lanes when all cameras are active
		*
		* max_lane_speed = <>;
		* Max lane speed in Kbit/s
		*
		* min_bits_per_pixel = <>;
		* Min bits per pixel
		*
		* vi_peak_byte_per_pixel = <>;
		* Max byte per pixel for the VI ISO case
		*
		* vi_bw_margin_pct = <>;
		* Vi bandwidth margin in percentage
		*
		* max_pixel_rate = <>;
		* Max pixel rate in Kpixel/s for the ISP ISO case
		*
		* isp_peak_byte_per_pixel = <>;
		* Max byte per pixel for the ISP ISO case
		*
		* isp_bw_margin_pct = <>;
		* Isp bandwidth margin in percentage
		*/
		num_csi_lanes = <12>;
		/*num_csi_lanes = <8>;*/
		/*num_csi_lanes = <4>;*/
		max_lane_speed = <4000000>;
		min_bits_per_pixel = <10>;
		vi_peak_byte_per_pixel = <2>;
		vi_bw_margin_pct = <25>;
		isp_peak_byte_per_pixel = <5>;
		isp_bw_margin_pct = <25>;

		/**
		 * The general guideline for naming badge_info contains 3 parts, and is as follows,
		 * The first part is the camera_board_id for the module; if the module is in a FFD
		 * platform, then use the platform name for this part.
		 * The second part contains the position of the module, ex. "rear" or "front".
		 * The third part contains the last 6 characters of a part number which is found
		 * in the module's specsheet from the vender.
		 */
		modules {

			module0 {
				badge = "gw5200_bottomleft";
				position = "camera_0";
				orientation = "0";
				drivernode0 {
					pcl_id = "v4l2_sensor";
					devname = "gw5200 2-001b";
					proc-device-tree = "/proc/device-tree/i2c@3180000/gw5200_a@1b";
				};
			};
			module1 {
				badge = "gw5200_bottomright";
				position = "camera_1";
				orientation = "0";
				drivernode0 {
					pcl_id = "v4l2_sensor";
					devname = "gw5200 2-001c";
					proc-device-tree = "/proc/device-tree/i2c@3180000/gw5200_b@1c";
				};
			};
			module2 {
				badge = "gw5200_bottomleft";
				position = "camera_2";
				orientation = "0";
				drivernode0 {
					pcl_id = "v4l2_sensor";
					devname = "gw5200 2-001d";
					proc-device-tree = "/proc/device-tree/i2c@3180000/gw5200_c@1d";
				};
			};
			module3 {
				badge = "gw5200_bottomleft";
				position = "camera_3";
				orientation = "0";
				drivernode0 {
					pcl_id = "v4l2_sensor";
					devname = "gw5200 2-001e";
					proc-device-tree = "/proc/device-tree/i2c@3180000/gw5200_d@1e";
				};
			};
           #if 1
			module4 {
				badge = "gw5200_topleft";
				position = "camera_4";
				orientation = "0";
				drivernode0 {
					pcl_id = "v4l2_sensor";
					devname = "gw5200 2-001f";
					proc-device-tree = "/proc/device-tree/i2c@3180000/gw5200_e@1f";
				};
			};
			module5 {
				badge = "gw5200_topright";
				position = "camera_5";
				orientation = "0";
				drivernode0 {
					pcl_id = "v4l2_sensor";
					devname = "gw5200 2-0020";
					proc-device-tree = "/proc/device-tree/i2c@3180000/gw5200_f@20";
				};
			};
			module6 {
				badge = "gw5200_centerleft";
				position = "camera_6";
				orientation = "0";
				drivernode0 {
					pcl_id = "v4l2_sensor";
					devname = "gw5200 2-0021";
					proc-device-tree = "/proc/device-tree/i2c@3180000/gw5200_g@21";
				};
			};
			module7 {
				badge = "gw5200_centerright";
				position = "camera_7";
				orientation = "0";
				drivernode0 {
					pcl_id = "v4l2_sensor";
					devname = "gw5200 2-0022";
					proc-device-tree = "/proc/device-tree/i2c@3180000/gw5200_h@22";
				};
			};
            #endif
           #if 1
			module8 {
				badge = "gw5200_topleft";
				position = "camera_8";
				orientation = "0";
				drivernode0 {
					pcl_id = "v4l2_sensor";
					devname = "gw5200 7-001b";
					proc-device-tree = "/proc/device-tree/i2c@c250000/gw5200_i@1b";
				};
			};
			module9 {
				badge = "gw5200_topright";
				position = "camera_9";
				orientation = "0";
				drivernode0 {
					pcl_id = "v4l2_sensor";
					devname = "gw5200 7-001c";
					proc-device-tree = "/proc/device-tree/i2c@c250000/gw5200_j@1c";
				};
			};
			module10 {
				badge = "gw5200_centerleft";
				position = "camera_10";
				orientation = "0";
				drivernode0 {
					pcl_id = "v4l2_sensor";
					devname = "gw5200 7-001d";
					proc-device-tree = "/proc/device-tree/i2c@c250000/gw5200_k@1d";
				};
			};
			module11 {
				badge = "gw5200_centerright";
				position = "camera_11";
				orientation = "0";
				drivernode0 {
					pcl_id = "v4l2_sensor";
					devname = "gw5200 7-001e";
					proc-device-tree = "/proc/device-tree/i2c@c250000/gw5200_l@1e";
				};
			};
            #endif
		};
	};
};
